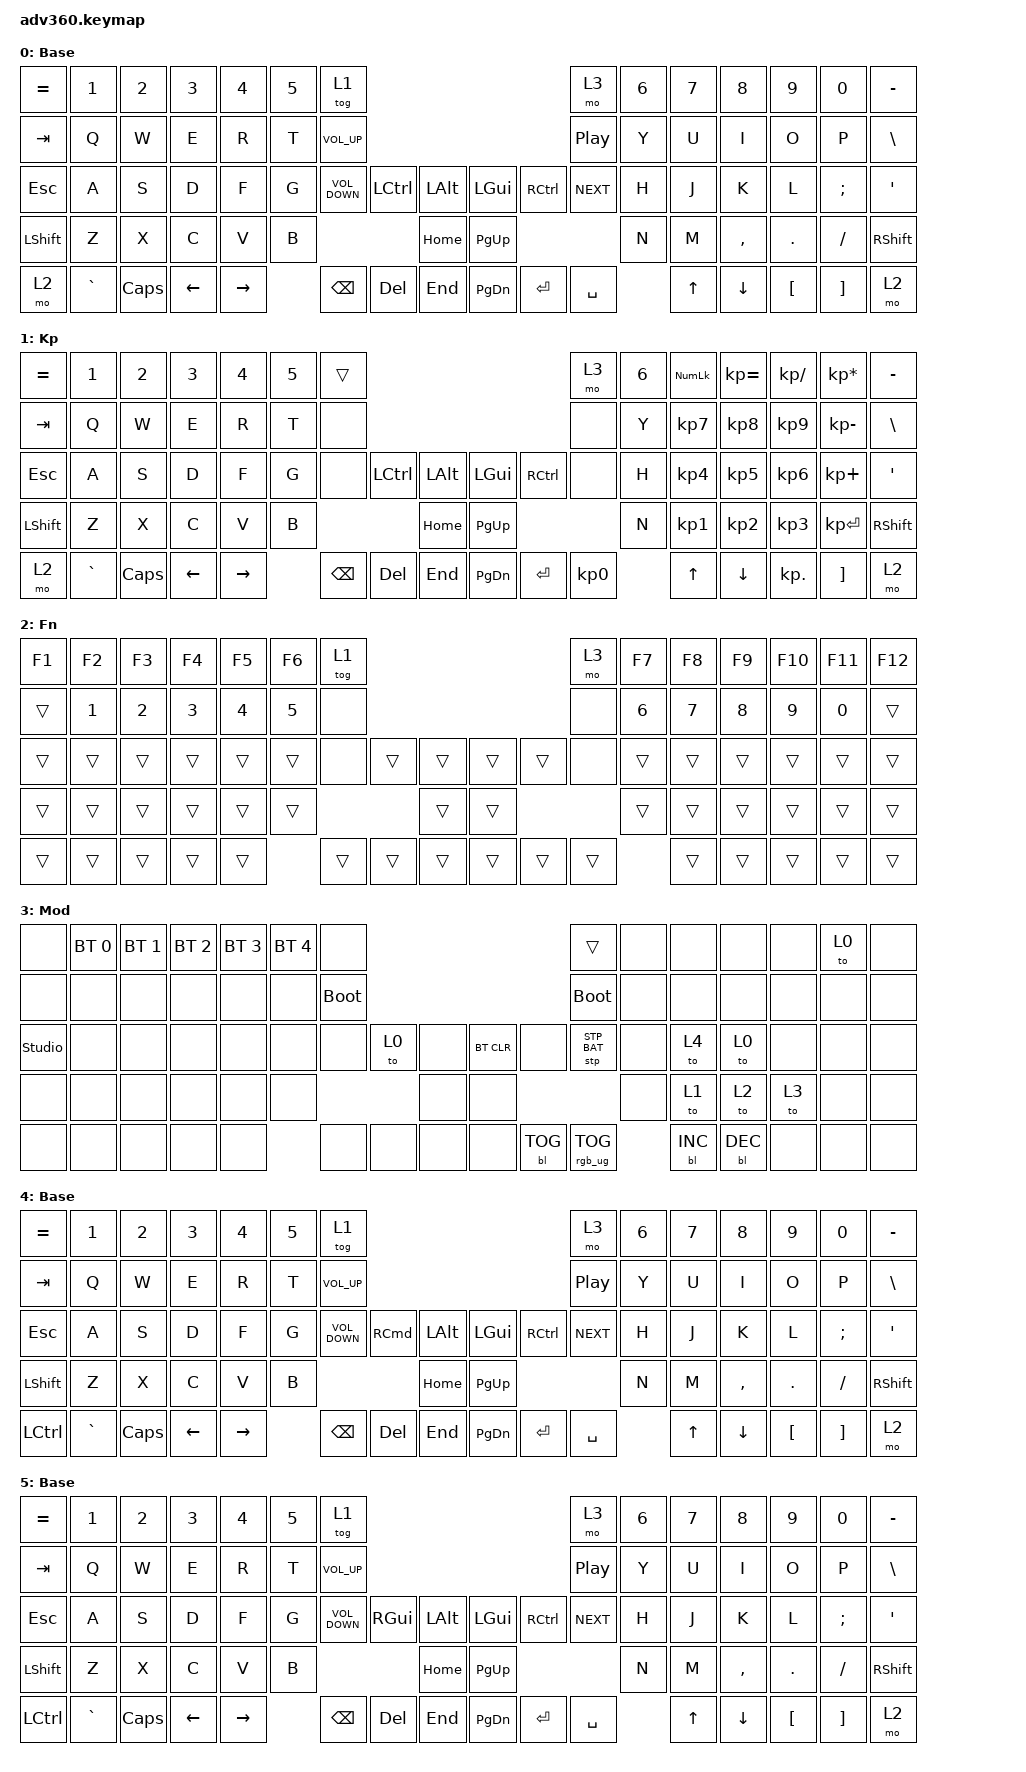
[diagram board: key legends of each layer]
#include <dt-bindings/zmk/stp.h>
#include <behaviors.dtsi>
#include <dt-bindings/zmk/backlight.h>
#include <dt-bindings/zmk/bt.h>
#include <dt-bindings/zmk/keys.h>
#include <dt-bindings/zmk/rgb.h>

/ {
    behaviors {
        #include "macros.dtsi"
      #include "version.dtsi"

        hm: homerow_mods {
            compatible = "zmk,behavior-hold-tap";
            label = "HOMEROW_MODS";
            #binding-cells = <2>;
            tapping-term-ms = <200>;
            quick_tap_ms = <175>;
            flavor = "tap-preferred";
            bindings = <&kp>, <&kp>;
        };
    };

    combos {
        compatible = "zmk,combos";

        ToDefault1 {
            bindings = <&to 0>;
            key-positions = <36 37>;
        };

        TogLayer5 {
            bindings = <&tog 0>;
            key-positions = <37 38 5>;
        };

        TogLayer4 {
            bindings = <&tog 4>;
            key-positions = <37 38 4>;
        };
    };

    keymap {
        compatible = "zmk,keymap";

        default_layer {
            display-name = "Base";
            bindings = <
&kp EQUAL  &kp N1     &kp N2    &kp N3    &kp N4     &kp N5  &tog 1                                                                   &mo 3             &kp N6  &kp N7  &kp N8     &kp N9    &kp N0    &kp MINUS
&kp TAB    &kp Q      &kp W     &kp E     &kp R      &kp T   &kp C_VOLUME_UP                                                          &kp C_PLAY_PAUSE  &kp Y   &kp U   &kp I      &kp O     &kp P     &kp BSLH
&kp ESC    &kp A      &kp S     &kp D     &kp F      &kp G   &kp C_VOLUME_DOWN  &kp LEFT_CONTROL  &kp LALT      &kp LGUI   &kp RCTRL  &kp C_NEXT        &kp H   &kp J   &kp K      &kp L     &kp SEMI  &kp SQT
&kp LSHFT  &kp Z      &kp X     &kp C     &kp V      &kp B                                        &kp HOME      &kp PG_UP                               &kp N   &kp M   &kp COMMA  &kp DOT   &kp FSLH  &kp RSHFT
&mo 2      &kp GRAVE  &kp CAPS  &kp LEFT  &kp RIGHT          &kp BSPC           &kp DEL           &kp END       &kp PG_DN  &kp ENTER  &kp SPACE                 &kp UP  &kp DOWN   &kp LBKT  &kp RBKT  &mo 2
            >;
        };

        keypad {
            display-name = "Kp";
            bindings = <
&kp EQUAL  &kp N1     &kp N2    &kp N3    &kp N4     &kp N5  &trans                                                   &mo 3      &kp N6  &kp KP_NUM  &kp KP_EQUAL  &kp KP_DIVIDE  &kp KP_MULTIPLY  &kp MINUS
&kp TAB    &kp Q      &kp W     &kp E     &kp R      &kp T   &none                                                    &none      &kp Y   &kp KP_N7   &kp KP_N8     &kp KP_N9      &kp KP_MINUS     &kp BSLH
&kp ESC    &kp A      &kp S     &kp D     &kp F      &kp G   &none     &kp LCTRL  &kp LALT      &kp LGUI   &kp RCTRL  &none      &kp H   &kp KP_N4   &kp KP_N5     &kp KP_N6      &kp KP_PLUS      &kp SQT
&kp LSHFT  &kp Z      &kp X     &kp C     &kp V      &kp B                        &kp HOME      &kp PG_UP                        &kp N   &kp KP_N1   &kp KP_N2     &kp KP_N3      &kp KP_ENTER     &kp RSHFT
&mo 2      &kp GRAVE  &kp CAPS  &kp LEFT  &kp RIGHT          &kp BSPC  &kp DEL    &kp END       &kp PG_DN  &kp ENTER  &kp KP_N0          &kp UP      &kp DOWN      &kp KP_DOT     &kp RBKT         &mo 2
            >;
        };

        fn {
            display-name = "Fn";
            bindings = <
&kp F1  &kp F2        &kp F3  &kp F4  &kp F5  &kp F6  &tog 1                                      &mo 3   &kp F7  &kp F8  &kp F9  &kp F10  &kp F11  &kp F12
&trans  &kp NUMBER_1  &kp N2  &kp N3  &kp N4  &kp N5  &none                                       &none   &kp N6  &kp N7  &kp N8  &kp N9   &kp N0   &trans
&trans  &trans        &trans  &trans  &trans  &trans  &none   &trans  &trans      &trans  &trans  &none   &trans  &trans  &trans  &trans   &trans   &trans
&trans  &trans        &trans  &trans  &trans  &trans                  &trans      &trans                  &trans  &trans  &trans  &trans   &trans   &trans
&trans  &trans        &trans  &trans  &trans          &trans  &trans  &trans      &trans  &trans  &trans          &trans  &trans  &trans   &trans   &trans
            >;
        };

        mod {
            display-name = "Mod";
            bindings = <
&none           &bt BT_SEL 0  &bt BT_SEL 1  &bt BT_SEL 2  &bt BT_SEL 3  &bt BT_SEL 4  &none                                                  &trans           &none  &none       &none       &none  &to 0  &none
&none           &none         &none         &none         &none         &none         &bootloader                                            &bootloader      &none  &none       &none       &none  &none  &none
&studio_unlock  &none         &none         &none         &none         &none         &none        &to 0  &none      &bt BT_CLR  &none       &stp STP_BAT     &none  &to 4       &to 0       &none  &none  &none
&none           &none         &none         &none         &none         &none                             &none      &none                                    &none  &to 1       &to 2       &to 3  &none  &none
&none           &none         &none         &none         &none                       &none        &none  &none      &none       &bl BL_TOG  &rgb_ug RGB_TOG         &bl BL_INC  &bl BL_DEC  &none  &none  &none
            >;
        };

        MAC_Omarchy {
            display-name = "Base";
            bindings = <
&kp EQUAL         &kp N1     &kp N2    &kp N3    &kp N4     &kp N5  &tog 1                                                                    &mo 3             &kp N6  &kp N7  &kp N8     &kp N9    &kp N0    &kp MINUS
&kp TAB           &kp Q      &kp W     &kp E     &kp R      &kp T   &kp C_VOLUME_UP                                                           &kp C_PLAY_PAUSE  &kp Y   &kp U   &kp I      &kp O     &kp P     &kp BSLH
&kp ESC           &kp A      &kp S     &kp D     &kp F      &kp G   &kp C_VOLUME_DOWN  &kp RIGHT_COMMAND  &kp LALT      &kp LGUI   &kp RCTRL  &kp C_NEXT        &kp H   &kp J   &kp K      &kp L     &kp SEMI  &kp SQT
&kp LSHFT         &kp Z      &kp X     &kp C     &kp V      &kp B                                         &kp HOME      &kp PG_UP                               &kp N   &kp M   &kp COMMA  &kp DOT   &kp FSLH  &kp RSHFT
&kp LEFT_CONTROL  &kp GRAVE  &kp CAPS  &kp LEFT  &kp RIGHT          &kp BSPC           &kp DEL            &kp END       &kp PG_DN  &kp ENTER  &kp SPACE                 &kp UP  &kp DOWN   &kp LBKT  &kp RBKT  &mo 2
            >;
        };

        layer_5 {
            display-name = "Base";
            bindings = <
&kp EQUAL         &kp N1     &kp N2    &kp N3    &kp N4     &kp N5  &tog 1                                                           &mo 3             &kp N6  &kp N7  &kp N8     &kp N9    &kp N0    &kp MINUS
&kp TAB           &kp Q      &kp W     &kp E     &kp R      &kp T   &kp C_VOLUME_UP                                                  &kp C_PLAY_PAUSE  &kp Y   &kp U   &kp I      &kp O     &kp P     &kp BSLH
&kp ESC           &kp A      &kp S     &kp D     &kp F      &kp G   &kp C_VOLUME_DOWN  &kp RGUI  &kp LALT      &kp LGUI   &kp RCTRL  &kp C_NEXT        &kp H   &kp J   &kp K      &kp L     &kp SEMI  &kp SQT
&kp LSHFT         &kp Z      &kp X     &kp C     &kp V      &kp B                                &kp HOME      &kp PG_UP                               &kp N   &kp M   &kp COMMA  &kp DOT   &kp FSLH  &kp RSHFT
&kp LEFT_CONTROL  &kp GRAVE  &kp CAPS  &kp LEFT  &kp RIGHT          &kp BSPC           &kp DEL   &kp END       &kp PG_DN  &kp ENTER  &kp SPACE                 &kp UP  &kp DOWN   &kp LBKT  &kp RBKT  &mo 2
            >;
        };
    };

    conditional_layers { compatible = "zmk,conditional-layers"; };
};
